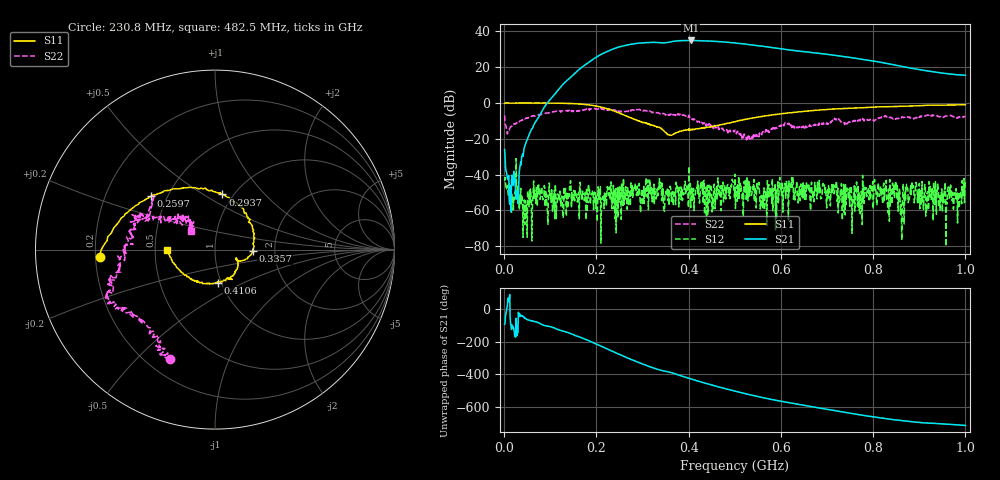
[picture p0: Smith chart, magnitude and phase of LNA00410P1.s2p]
! Created with skrf 1.9.0 (http://scikit-rf.org).
# Hz S RI R 50.0
!freq ReS11 ImS11 ReS21 ImS21 ReS12 ImS12 ReS22 ImS22
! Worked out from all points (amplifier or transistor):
!   1001 points, 1 MHz to 1 GHz, reference 50 ohm
!   highest |S21| = 35.0 dB at 404.6 MHz (marker M1)
!   |S21| within 3 dB of that: 259.2 MHz to 552.4 MHz (293.1 MHz wide, 72.2 % of centre)
!   unconditionally stable (mu >= 1): 236.8 MHz to 307.5 MHz; 315.8 MHz to 400.4 MHz; 401 MHz to end of sweep (the widest 3 of 42)
!   at 166.8 MHz: K = 1.53, MAG = 31.0 dB, |S12| = -50.9 dB
!   at 500.5 MHz: K = 1.20, MAG = 34.0 dB, |S12| = -39.8 dB
!   at 1 GHz: K = 2.24, MAG = 23.3 dB, |S12| = -43.5 dB
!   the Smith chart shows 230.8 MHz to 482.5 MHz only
!   S11 on the Smith chart (normalised r, x): 230.8 MHz: 0.22, -0.03; 259.7 MHz: 0.41, +0.31; 293.7 MHz: 0.89, +0.61; 335.7 MHz: 1.53, -0.02; 410.6 MHz: 0.97, -0.37; 482.5 MHz: 0.58, +0.00
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1000000  0.9805 0.00628  -0.00394 -0.05  -0.00665 0.000577  0.2969 0.3378
1.08892e8  0.5219 -0.8468  -0.8062 -1.522  0.00281 0.00218  0.436 -0.37
1.67833e8  -0.2279 -0.9021  -9.865 -0.5638  0.000645 0.00304  0.055 -0.6374
2.04796e8  -0.6406 -0.471  -15.85 13.8  0.00194 0.000122  -0.1783 -0.6746
2.3077e8  -0.6421 -0.041  -8.079 29.26  0.00131 -0.00471  -0.2528 -0.6123
2.59741e8  -0.3557 0.2973  14.05 37.25  -0.00145 -0.000196  -0.4062 -0.4034
2.93707e8  0.041 0.3071  40.68 23.79  -0.003 0.00127  -0.6067 -0.2776
3.13687e8  0.1859 0.1787  48.59 7.24  -0.00119 0.00347  -0.5666 -0.1635
3.34666e8  0.2119 0.00397  48.04 -9.507  -0.0045 0.00032  -0.5241 -0.0386
3.35665e8  0.2094 -0.00648  47.69 -10.38  -0.00275 0.00266  -0.5212 -0.0379
3.71629e8  0.1265 -0.0668  42.92 -33  0.00112 -0.000909  -0.4114 0.1733
4.04596e8  0.0503 -0.1702  21.3 -51.93  0.000227 0.00118  -0.345 0.1661
4.1059e8  0.0168 -0.1836  16.36 -53.52  0.00259 0.00315  -0.302 0.1493
4.43557e8  -0.1444 -0.1557  -9.036 -53.26  0.00365 0.0034  -0.1937 0.1712
4.82518e8  -0.2686 0.000215  -31.59 -38.87  0.00296 0.0011  -0.1323 0.1038
5.005e8  -0.2767 0.1041  -37.88 -29.3  0.00102 -0.0102  -0.1599 0.0604
5.36464e8  -0.2377 0.2906  -41.1 -9.704  0.0011 -0.00251  -0.0979 0.00657
5.82418e8  -0.0635 0.4605  -34.33 8.706  0.000208 -0.000952  -0.1834 -0.0319
6.67333e8  0.3197 0.5234  -13.84 21.56  0.00146 -0.00284  -0.2362 -0.000331
7.55245e8  0.624 0.363  2.843 18.09  -0.000705 -0.00188  -0.3025 0.076
8.34166e8  0.7798 0.1415  8.407 9.194  0.000874 0.00035  -0.3848 0.1139
1e9  0.8111 -0.3835  5.924 0.8961  -0.00634 -0.00203  -0.1644 0.3692
